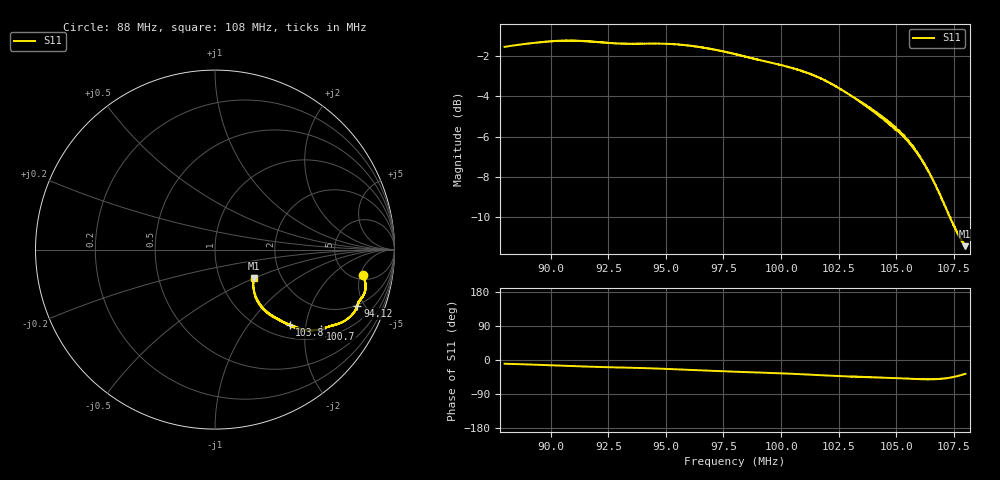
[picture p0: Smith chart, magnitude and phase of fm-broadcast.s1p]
! Calibrated averaged scanner-service zoom
# Hz S RI R 50
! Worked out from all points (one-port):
!   2001 points, 88 MHz to 108 MHz, reference 50 ohm
!   lowest |S11| = -11.4 dB at 108 MHz (marker M1), VSWR 1.73, Z = 72.5 - j24.7 ohm
!   |S11| at or under -10 dB: 107.3167 MHz to 107.349 MHz (32.23 kHz wide, 0.03 % of centre); 107.4 MHz to end of sweep
!   S11 on the Smith chart (normalised r, x): 88 MHz: 5.82, -5.60; 94.12 MHz: 1.94, -4.45; 100.7 MHz: 1.25, -2.43; 103.8 MHz: 1.26, -1.62; 108 MHz: 1.45, -0.50
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8.8e7  0.8247 -0.1439
8.937e7  0.837 -0.1845
9.05e7  0.8367 -0.2235
9.169e7  0.8236 -0.2621
9.3e7  0.8029 -0.289
9.412e7  0.7933 -0.3127
9.491e7  0.7834 -0.3359
9.55e7  0.7712 -0.355
9.689e7  0.73 -0.3921
9.8e7  0.6896 -0.4128
1.005e8  0.5956 -0.4405
1.0068e8  0.5889 -0.4426
1.0126e8  0.5596 -0.4477
1.019e8  0.525 -0.451
1.0245e8  0.4919 -0.4466
1.03e8  0.4598 -0.4371
1.0384e8  0.4165 -0.4199
1.0479e8  0.3664 -0.3962
1.055e8  0.3187 -0.3692
1.0589e8  0.2933 -0.3553
1.0623e8  0.269 -0.3345
1.0657e8  0.2494 -0.3033
1.0694e8  0.2268 -0.2698
1.0727e8  0.2166 -0.2351
1.0761e8  0.2127 -0.1983
1.0784e8  0.2131 -0.1736
1.0799e8  0.2158 -0.1583
1.08e8  0.2156 -0.1592
